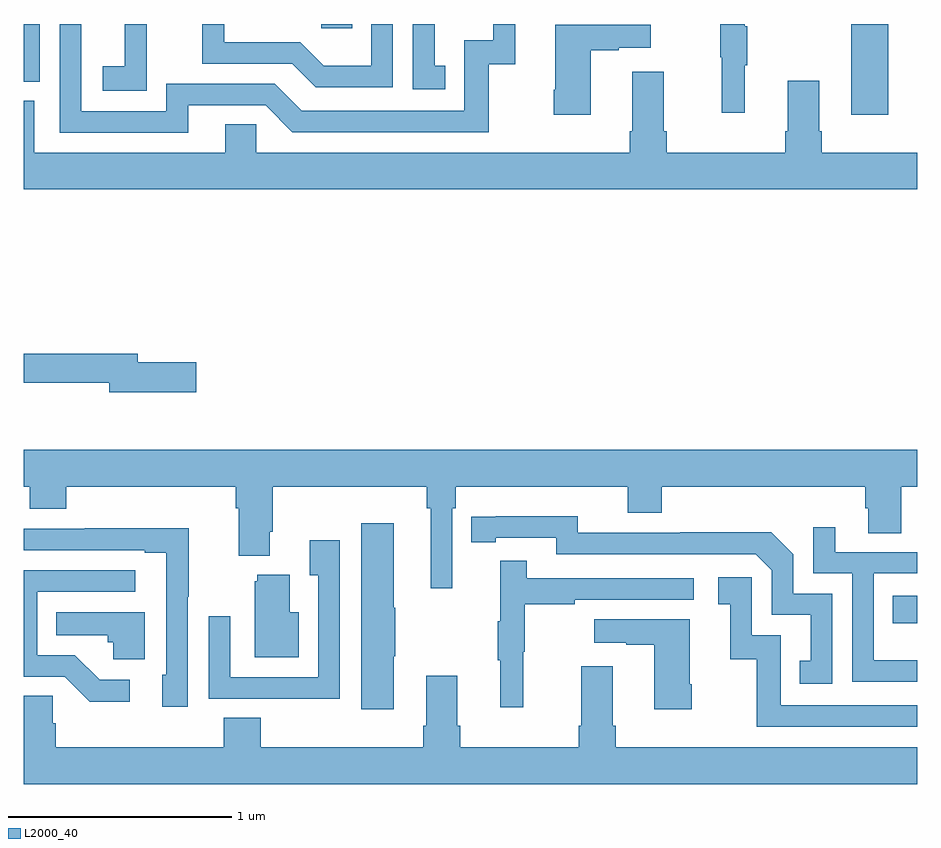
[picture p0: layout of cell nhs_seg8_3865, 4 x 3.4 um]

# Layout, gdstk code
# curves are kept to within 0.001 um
import gdstk
lib = gdstk.Library(unit=1e-6, precision=1e-09)
def R(c, l, rs):  # rectangles x0, y0, x1, y1
    for r in rs: c.add(gdstk.rectangle(r[:2], r[2:], *l))
def P(c, l, *ps):  # polygons
    for p in ps: c.add(gdstk.Polygon(p, *l))
L2000_40 = (2000, 40)

nhs_seg8_3865 = lib.new_cell('nhs_seg8_3865')
R(nhs_seg8_3865, L2000_40, [(352.891,1121.217,353,1121.34), (352.706,1123.494,352.87,1123.9), (349,1123.641,349.071,1123.9), (350.331,1123.881,350.471,1123.9)])
P(nhs_seg8_3865, L2000_40, [(349.551,1123.807),(349.55,1123.807),(349.55,1123.9),(349.451,1123.9),(349.451,1123.711),(349.353,1123.711),(349.353,1123.601),(349.551,1123.601)],
  [(349.735,1123.536),(350.082,1123.536),(350.202,1123.416),(351.082,1123.416),(351.082,1123.719),(351.2,1123.719),(351.2,1123.9),(351.102,1123.9),(351.102,1123.827),(350.973,1123.827),(350.973,1123.512),(350.244,1123.512),(350.124,1123.632),(349.638,1123.632),(349.638,1123.509),(349.257,1123.509),(349.257,1123.9),(349.161,1123.9),(349.161,1123.413),(349.735,1123.413)],
  [(352.229,1123.715),(352.24,1123.715),(352.24,1123.889),(352.229,1123.889),(352.229,1123.9),(352.119,1123.9),(352.119,1123.752),(352.126,1123.752),(352.126,1123.503),(352.229,1123.503)],
  [(350.888,1123.713),(350.839,1123.713),(350.839,1123.9),(350.742,1123.9),(350.742,1123.608),(350.888,1123.608)],
  [(350.652,1123.9),(350.556,1123.9),(350.556,1123.714),(350.342,1123.714),(350.238,1123.818),(349.896,1123.818),(349.896,1123.9),(349.798,1123.9),(349.798,1123.722),(350.201,1123.722),(350.306,1123.617),(350.652,1123.617)],
  [(351.538,1123.783),(351.665,1123.783),(351.665,1123.793),(351.808,1123.793),(351.808,1123.897),(351.38,1123.897),(351.38,1123.606),(351.373,1123.606),(351.373,1123.494),(351.538,1123.494)],
  [(353,1123.324),(352.574,1123.324),(352.574,1123.42),(352.561,1123.42),(352.561,1123.645),(352.421,1123.645),(352.421,1123.42),(352.409,1123.42),(352.409,1123.324),(351.878,1123.324),(351.878,1123.42),(351.865,1123.42),(351.865,1123.687),(351.725,1123.687),(351.725,1123.42),(351.713,1123.42),(351.713,1123.324),(350.04,1123.324),(350.04,1123.451),(349.901,1123.451),(349.901,1123.324),(349.045,1123.324),(349.045,1123.556),(349,1123.556),(349,1123.16),(353,1123.16)],
  [(349.771,1122.386),(349.51,1122.386),(349.51,1122.422),(349,1122.422),(349,1122.294),(349.382,1122.294),(349.382,1122.251),(349.771,1122.251)],
  [(350.919,1121.732),(350.933,1121.732),(350.933,1121.828),(351.704,1121.828),(351.704,1121.711),(351.857,1121.711),(351.857,1121.828),(352.769,1121.828),(352.769,1121.73),(352.781,1121.73),(352.781,1121.62),(352.929,1121.62),(352.929,1121.828),(353,1121.828),(353,1121.992),(349,1121.992),(349,1121.828),(349.025,1121.828),(349.025,1121.729),(349.19,1121.729),(349.19,1121.828),(349.949,1121.828),(349.949,1121.732),(349.961,1121.732),(349.961,1121.519),(350.101,1121.519),(350.101,1121.626),(350.114,1121.626),(350.114,1121.828),(350.803,1121.828),(350.803,1121.732),(350.822,1121.732),(350.822,1121.373),(350.919,1121.373)],
  [(352.62,1121.349),(352.446,1121.349),(352.446,1121.526),(352.348,1121.624),(351.94,1121.624),(351.94,1121.622),(351.48,1121.622),(351.48,1121.695),(351.004,1121.694),(351.004,1121.578),(351.112,1121.578),(351.112,1121.598),(351.384,1121.598),(351.384,1121.526),(352.278,1121.526),(352.35,1121.454),(352.35,1121.253),(352.523,1121.253),(352.523,1121.049),(352.474,1121.049),(352.474,1120.944),(352.62,1120.944)],
  [(350.656,1121.068),(350.664,1121.068),(350.664,1121.285),(350.656,1121.285),(350.656,1121.665),(350.51,1121.665),(350.51,1120.83),(350.656,1120.83)],
  [(353,1121.05),(352.806,1121.05),(352.806,1121.439),(353,1121.439),(353,1121.535),(352.633,1121.535),(352.633,1121.647),(352.536,1121.647),(352.536,1121.439),(352.71,1121.439),(352.71,1120.953),(353,1120.953)],
  [(349.734,1121.335),(349.737,1121.335),(349.737,1121.642),(349.273,1121.642),(349.273,1121.64),(349,1121.64),(349,1121.544),(349.541,1121.544),(349.541,1121.532),(349.638,1121.532),(349.638,1120.986),(349.619,1120.986),(349.619,1120.842),(349.734,1120.842)],
  [(350.415,1121.587),(350.279,1121.587),(350.279,1121.431),(350.319,1121.431),(350.319,1120.974),(349.923,1120.974),(349.923,1121.248),(349.827,1121.248),(349.827,1120.878),(350.143,1120.878),(350.143,1120.877),(350.415,1120.877)],
  [(351.236,1121.088),(351.244,1121.088),(351.244,1121.302),(351.467,1121.302),(351.467,1121.322),(352,1121.322),(352,1121.418),(351.251,1121.418),(351.251,1121.497),(351.134,1121.497),(351.134,1121.225),(351.123,1121.225),(351.123,1121.051),(351.134,1121.051),(351.134,1120.839),(351.236,1120.839)],
  [(349.474,1120.962),(349.339,1120.962),(349.228,1121.073),(349.059,1121.073),(349.059,1121.358),(349.498,1121.358),(349.498,1121.454),(349,1121.454),(349,1120.977),(349.182,1120.977),(349.295,1120.865),(349.474,1120.865)],
  [(350.23,1121.266),(350.191,1121.266),(350.191,1121.434),(350.045,1121.434),(350.045,1121.403),(350.033,1121.403),(350.033,1121.063),(350.23,1121.063)],
  [(353,1120.848),(352.389,1120.848),(352.389,1121.163),(352.26,1121.163),(352.26,1121.422),(352.11,1121.422),(352.11,1121.301),(352.163,1121.301),(352.163,1121.055),(352.281,1121.055),(352.281,1120.752),(353,1120.752)],
  [(349.54,1121.266),(349.144,1121.266),(349.144,1121.162),(349.375,1121.162),(349.375,1121.13),(349.401,1121.13),(349.401,1121.054),(349.54,1121.054)],
  [(351.99,1120.942),(351.982,1120.942),(351.982,1121.233),(351.555,1121.233),(351.555,1121.129),(351.698,1121.129),(351.698,1121.119),(351.824,1121.119),(351.824,1120.83),(351.99,1120.83)],
  [(353,1120.66),(351.65,1120.66),(351.65,1120.756),(351.637,1120.756),(351.637,1121.023),(351.497,1121.023),(351.497,1120.756),(351.485,1120.756),(351.485,1120.66),(350.954,1120.66),(350.954,1120.756),(350.941,1120.756),(350.941,1120.981),(350.801,1120.981),(350.801,1120.756),(350.789,1120.756),(350.789,1120.66),(350.06,1120.66),(350.06,1120.793),(349.895,1120.793),(349.895,1120.66),(349.142,1120.66),(349.142,1120.769),(349.128,1120.769),(349.128,1120.892),(349,1120.892),(349,1120.496),(353,1120.496)])

lib.write_gds('nhs_seg8_3865.gds')
